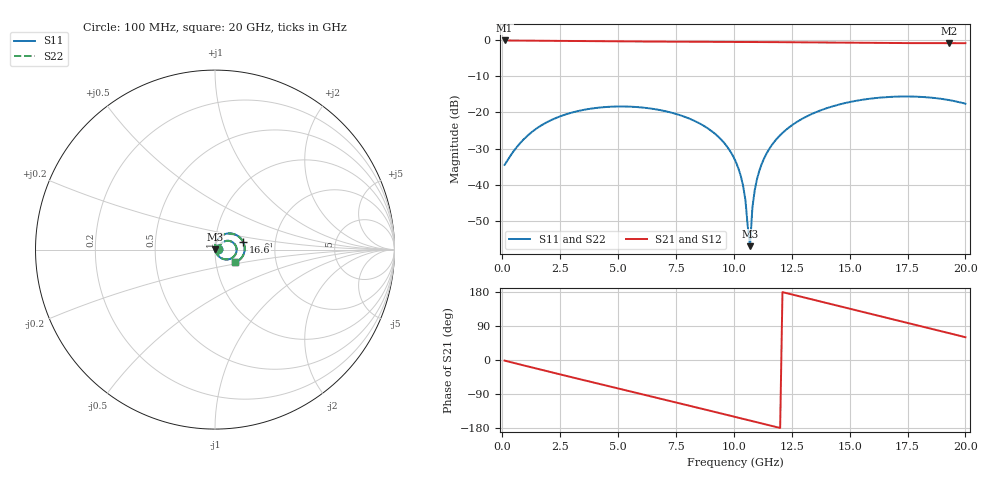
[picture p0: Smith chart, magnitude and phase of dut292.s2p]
! Touchstone file exported from HFSS 2026.1.0
!  File:  C:/ffzhzh/LocalFiles/Ansys_Project_Files/temp_train_TSV_RDL_292_1783087726_33488.aedt
!  Generated:  10:16:52 PM Jul  3, 2026
!  Design:  TSV_RDL
!  Project:  temp_train_TSV_RDL_292_1783087726_33488
! Variables:
!  h_bsmrdl = 5.78um
!  h_ox = 20um
!  h_rdl = 5um
!  h_sub = 74.02um
!  h_tmrdl = 5.85um
!  h_tsv = 74.02um
!  h_via = 3um
!  l_bsmrdl = 654.48um
!  l_sub = 3869.47um
!  l_tmrdl = 356.46um
!  m_sub = 200um
!  pitch = 28.89um
!  r_tsv = 13.79um
!  s_tmrdl = 10um
!  w_bsmrdl = 10.05um
!  w_sub = 500um
!  w_tmrdl = 16.68um
!  x_tsv_center1 = 364.8um
!  x_tsv_center2 = 1029.33um
!  x_tsv_center3 = 1402.47um
!  x_tsv_center4 = 2067um
!  x_tsv_center5 = 2440.14um
!  x_tsv_center6 = 3104.67um
# GHz S MA R 50.000000
! Terminal data exported
! Port[1] = TM_RDL1_1_T1
! Port[2] = TM_RDL5_1_T1
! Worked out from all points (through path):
!   200 points, 100 MHz to 20 GHz, reference 50 ohm
!   highest |S21| = -0.16 dB at 100 MHz (marker M1); lowest = -0.9 dB at 19.3 GHz (marker M2)
!   group delay of S21, straight-line fit = 41.5 ps
!   lowest |S11| = -56.9 dB at 10.7 GHz (marker M3), VSWR 1.00, Z = 50.1 + j0.123 ohm
!   |S11| at or under -10 dB: start of sweep to end of sweep
!   |S22| runs from -55.1 to -15.6 dB; largest |S21 - S12| = 1.7e-14
!   S11 on the Smith chart (normalised r, x): 100 MHz: 1.04, +0.01; 16.6 GHz: 1.37, +0.12; 20 GHz: 1.24, -0.17
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0.1  0.01891 13.7  0.9817 -1.6  0.9817 -1.6  0.01891 13.7
! Gamma 0 0 0 0
! Port Impedance 50 0 50 0
0.8  0.03858 43.0  0.9775 -12.3  0.9775 -12.3  0.03858 43.0
1.5  0.06059 43.4  0.9736 -23.0  0.9736 -23.0  0.06059 43.4
3.5  0.1081 21.2  0.9607 -52.9  0.9607 -52.9  0.1081 21.2
5.2  0.1206 -2.0  0.952 -78.0  0.952 -78.0  0.1206 -1.9
6.8  0.1078 -24.3  0.947 -101.6  0.947 -101.6  0.1078 -24.2
8.9  0.05949 -53.6  0.9423 -132.9  0.9423 -132.9  0.05944 -53.4
9.6  0.03734 -63.1  0.9403 -143.3  0.9403 -143.3  0.03728 -62.6
10.1  0.0203 -69.1  0.9387 -150.8  0.9387 -150.8  0.02024 -68.1
10.4  0.009733 -70.6  0.9375 -155.3  0.9375 -155.3  0.009691 -68.3
10.5  0.006183 -68.9  0.9371 -156.8  0.9371 -156.8  0.006165 -65.3
10.6  0.002683 -58.8  0.9367 -158.3  0.9367 -158.3  0.002759 -50.6
10.7  0.001429 59.5  0.9363 -159.8  0.9363 -159.8  0.001767 51.7
10.8  0.004806 87.2  0.9359 -161.3  0.9359 -161.3  0.004987 82.9
10.9  0.008405 90.5  0.9354 -162.8  0.9354 -162.8  0.008552 87.9
11.3  0.02299 88.8  0.9336 -168.9  0.9336 -168.9  0.02311 87.7
12.1  0.05204 78.6  0.9294 179.1  0.9294 179.1  0.05217 78.0
13.4  0.09609 60.4  0.9216 159.6  0.9216 159.6  0.09623 60.1
16.6  0.1625 15.2  0.9049 111.7  0.9049 111.7  0.1626 15.0
16.7  0.1632 13.8  0.9045 110.2  0.9045 110.2  0.1633 13.6
19.3  0.1478 -22.4  0.9007 70.8  0.9007 70.8  0.1479 -22.7
20  0.1317 -31.6  0.9009 60.0  0.9009 60.0  0.1318 -31.9
